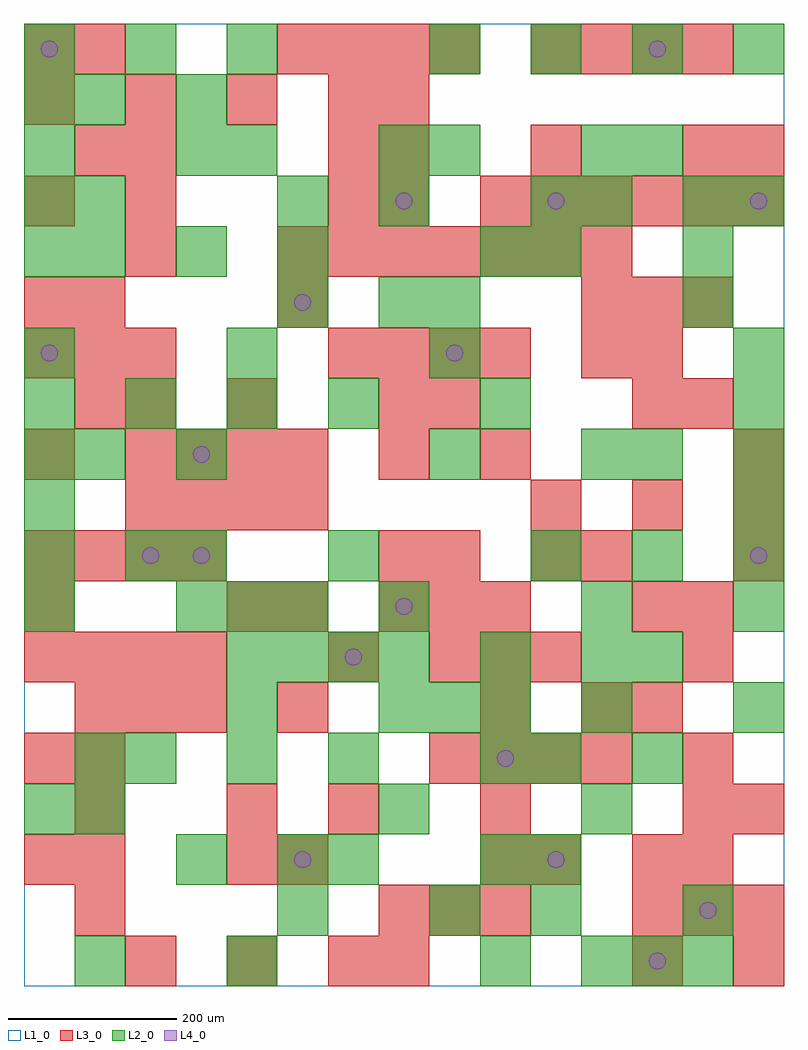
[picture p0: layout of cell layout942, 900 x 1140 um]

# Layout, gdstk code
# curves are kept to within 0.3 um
import gdstk
lib = gdstk.Library(unit=1e-6, precision=1e-09)
def R(c, l, rs):  # rectangles x0, y0, x1, y1
    for r in rs: c.add(gdstk.rectangle(r[:2], r[2:], *l))
def A(c, l, x, y, w, h, nx, ny, dx, dy):  # array of equal rectangles
    R(c, l, [(x+i*dx, y+j*dy, x+i*dx+w, y+j*dy+h) for i in range(nx) for j in range(ny)])
def P(c, l, *ps):  # polygons
    for p in ps: c.add(gdstk.Polygon(p, *l))
L1_0 = (1, 0)
L2_0 = (2, 0)
L3_0 = (3, 0)
L4_0 = (4, 0)

layout942 = lib.new_cell('layout942')
R(layout942, L1_0, [(0,0,900,1140)])
A(layout942, L2_0, 540, 0, 60, 60, 1, 4, 0, 120)
A(layout942, L2_0, 660, 0, 60, 60, 3, 1, 60, 0)
A(layout942, L2_0, 120, 240, 60, 60, 3, 1, 120, 0)
A(layout942, L2_0, 420, 300, 60, 60, 3, 1, 60, 0)
A(layout942, L2_0, 660, 300, 60, 60, 1, 3, 0, 60)
A(layout942, L2_0, 840, 300, 60, 60, 1, 3, 0, 120)
A(layout942, L2_0, 240, 360, 60, 60, 4, 1, 60, 0)
A(layout942, L2_0, 0, 420, 60, 60, 1, 4, 0, 60)
A(layout942, L2_0, 180, 420, 60, 60, 3, 1, 60, 0)
A(layout942, L2_0, 600, 480, 60, 60, 3, 1, 120, 0)
A(layout942, L2_0, 480, 600, 60, 60, 1, 3, 0, 180)
A(layout942, L2_0, 840, 600, 60, 60, 1, 3, 0, 60)
A(layout942, L2_0, 0, 660, 60, 60, 4, 1, 120, 0)
A(layout942, L2_0, 0, 720, 60, 60, 3, 1, 240, 0)
A(layout942, L2_0, 780, 780, 60, 60, 1, 3, 0, 60)
A(layout942, L2_0, 0, 840, 60, 60, 1, 4, 0, 60)
A(layout942, L2_0, 60, 840, 60, 60, 3, 1, 120, 0)
A(layout942, L2_0, 0, 1080, 60, 60, 3, 1, 120, 0)
A(layout942, L2_0, 480, 1080, 60, 60, 4, 1, 120, 0)
R(layout942, L2_0, [(60,0,120,60), (240,0,300,60), (300,60,360,120), (480,60,540,120), (600,60,660,120), (780,60,840,120), (180,120,240,180), (300,120,360,180), (360,120,420,180), (600,120,660,180), (0,180,60,240), (60,180,120,240), (420,180,480,240), (660,180,720,240), (60,240,120,300), (600,240,660,300), (720,240,780,300), (240,300,300,360), (720,360,780,420), (420,420,480,480), (120,480,180,540), (180,480,240,540), (360,480,420,540), (60,600,120,660), (180,600,240,660), (660,600,720,660), (720,600,780,660), (540,660,600,720), (300,780,360,840), (420,780,480,840), (540,840,600,900), (600,840,660,900), (60,900,120,960), (300,900,360,960), (420,900,480,960), (600,900,660,960), (660,900,720,960), (840,900,900,960), (180,960,240,1020), (240,960,300,1020), (420,960,480,1020), (660,960,720,1020), (720,960,780,1020), (60,1020,120,1080), (180,1020,240,1080)])
A(layout942, L3_0, 120, 0, 60, 60, 3, 1, 120, 0)
A(layout942, L3_0, 60, 60, 60, 60, 1, 4, 0, 60)
A(layout942, L3_0, 420, 60, 60, 60, 3, 2, 60, 360)
A(layout942, L3_0, 720, 60, 60, 60, 3, 1, 60, 0)
A(layout942, L3_0, 780, 120, 60, 60, 1, 3, 0, 60)
A(layout942, L3_0, 240, 180, 60, 60, 1, 3, 0, 240)
A(layout942, L3_0, 0, 240, 60, 60, 1, 4, 0, 180)
A(layout942, L3_0, 480, 240, 60, 60, 4, 1, 60, 0)
A(layout942, L3_0, 60, 300, 60, 60, 3, 1, 60, 0)
A(layout942, L3_0, 0, 360, 60, 60, 4, 2, 60, 120)
A(layout942, L3_0, 480, 360, 60, 60, 3, 1, 60, 0)
A(layout942, L3_0, 120, 540, 60, 60, 4, 2, 60, 60)
A(layout942, L3_0, 600, 540, 60, 60, 3, 1, 120, 0)
A(layout942, L3_0, 0, 720, 60, 60, 3, 1, 60, 0)
A(layout942, L3_0, 360, 720, 60, 60, 4, 1, 60, 0)
A(layout942, L3_0, 660, 780, 60, 60, 3, 1, 60, 0)
A(layout942, L3_0, 120, 840, 60, 60, 1, 3, 0, 60)
A(layout942, L3_0, 300, 840, 60, 60, 7, 1, 60, 0)
A(layout942, L3_0, 540, 900, 60, 60, 6, 1, 60, 0)
A(layout942, L3_0, 420, 960, 60, 60, 3, 1, 180, 0)
A(layout942, L3_0, 0, 1020, 60, 60, 4, 1, 120, 0)
A(layout942, L3_0, 300, 1080, 60, 60, 4, 1, 60, 0)
A(layout942, L3_0, 600, 1080, 60, 60, 4, 1, 60, 0)
R(layout942, L3_0, [(420,0,480,60), (720,0,780,60), (840,0,900,60), (0,120,60,180), (240,120,300,180), (300,120,360,180), (540,120,600,180), (600,120,660,180), (720,120,780,180), (360,180,420,240), (540,180,600,240), (840,180,900,240), (300,300,360,360), (540,300,600,360), (660,300,720,360), (720,300,780,360), (360,360,420,420), (780,360,840,420), (300,420,360,480), (720,420,780,480), (780,420,840,480), (420,480,480,540), (480,480,540,540), (600,480,660,540), (660,480,720,540), (840,480,900,540), (420,600,480,660), (540,600,600,660), (840,600,900,660), (60,660,120,720), (120,660,180,720), (420,660,480,720), (480,660,540,720), (720,660,780,720), (780,660,840,720), (660,720,720,780), (720,720,780,780), (60,780,120,840), (300,780,360,840), (0,900,60,960), (360,900,420,960), (420,900,480,960), (60,960,120,1020), (360,960,420,1020), (840,960,900,1020), (420,1020,480,1080), (0,1080,60,1140), (60,1080,120,1140)])
P(layout942, L4_0, [(40,750),(39.239,753.827),(37.071,757.071),(33.827,759.239),(30,760),(26.173,759.239),(22.929,757.071),(20.761,753.827),(20,750),(20.761,746.173),(22.929,742.929),(26.173,740.761),(30,740),(33.827,740.761),(37.071,742.929),(39.239,746.173)],
  [(40,1110),(39.239,1113.827),(37.071,1117.071),(33.827,1119.239),(30,1120),(26.173,1119.239),(22.929,1117.071),(20.761,1113.827),(20,1110),(20.761,1106.173),(22.929,1102.929),(26.173,1100.761),(30,1100),(33.827,1100.761),(37.071,1102.929),(39.239,1106.173)],
  [(160,510),(159.239,513.827),(157.071,517.071),(153.827,519.239),(150,520),(146.173,519.239),(142.929,517.071),(140.761,513.827),(140,510),(140.761,506.173),(142.929,502.929),(146.173,500.761),(150,500),(153.827,500.761),(157.071,502.929),(159.239,506.173)],
  [(220,510),(219.239,513.827),(217.071,517.071),(213.827,519.239),(210,520),(206.173,519.239),(202.929,517.071),(200.761,513.827),(200,510),(200.761,506.173),(202.929,502.929),(206.173,500.761),(210,500),(213.827,500.761),(217.071,502.929),(219.239,506.173)],
  [(220,630),(219.239,633.827),(217.071,637.071),(213.827,639.239),(210,640),(206.173,639.239),(202.929,637.071),(200.761,633.827),(200,630),(200.761,626.173),(202.929,622.929),(206.173,620.761),(210,620),(213.827,620.761),(217.071,622.929),(219.239,626.173)],
  [(340,150),(339.239,153.827),(337.071,157.071),(333.827,159.239),(330,160),(326.173,159.239),(322.929,157.071),(320.761,153.827),(320,150),(320.761,146.173),(322.929,142.929),(326.173,140.761),(330,140),(333.827,140.761),(337.071,142.929),(339.239,146.173)],
  [(340,810),(339.239,813.827),(337.071,817.071),(333.827,819.239),(330,820),(326.173,819.239),(322.929,817.071),(320.761,813.827),(320,810),(320.761,806.173),(322.929,802.929),(326.173,800.761),(330,800),(333.827,800.761),(337.071,802.929),(339.239,806.173)],
  [(400,390),(399.239,393.827),(397.071,397.071),(393.827,399.239),(390,400),(386.173,399.239),(382.929,397.071),(380.761,393.827),(380,390),(380.761,386.173),(382.929,382.929),(386.173,380.761),(390,380),(393.827,380.761),(397.071,382.929),(399.239,386.173)],
  [(460,450),(459.239,453.827),(457.071,457.071),(453.827,459.239),(450,460),(446.173,459.239),(442.929,457.071),(440.761,453.827),(440,450),(440.761,446.173),(442.929,442.929),(446.173,440.761),(450,440),(453.827,440.761),(457.071,442.929),(459.239,446.173)],
  [(460,930),(459.239,933.827),(457.071,937.071),(453.827,939.239),(450,940),(446.173,939.239),(442.929,937.071),(440.761,933.827),(440,930),(440.761,926.173),(442.929,922.929),(446.173,920.761),(450,920),(453.827,920.761),(457.071,922.929),(459.239,926.173)],
  [(520,750),(519.239,753.827),(517.071,757.071),(513.827,759.239),(510,760),(506.173,759.239),(502.929,757.071),(500.761,753.827),(500,750),(500.761,746.173),(502.929,742.929),(506.173,740.761),(510,740),(513.827,740.761),(517.071,742.929),(519.239,746.173)],
  [(580,270),(579.239,273.827),(577.071,277.071),(573.827,279.239),(570,280),(566.173,279.239),(562.929,277.071),(560.761,273.827),(560,270),(560.761,266.173),(562.929,262.929),(566.173,260.761),(570,260),(573.827,260.761),(577.071,262.929),(579.239,266.173)],
  [(640,150),(639.239,153.827),(637.071,157.071),(633.827,159.239),(630,160),(626.173,159.239),(622.929,157.071),(620.761,153.827),(620,150),(620.761,146.173),(622.929,142.929),(626.173,140.761),(630,140),(633.827,140.761),(637.071,142.929),(639.239,146.173)],
  [(640,930),(639.239,933.827),(637.071,937.071),(633.827,939.239),(630,940),(626.173,939.239),(622.929,937.071),(620.761,933.827),(620,930),(620.761,926.173),(622.929,922.929),(626.173,920.761),(630,920),(633.827,920.761),(637.071,922.929),(639.239,926.173)],
  [(760,30),(759.239,33.827),(757.071,37.071),(753.827,39.239),(750,40),(746.173,39.239),(742.929,37.071),(740.761,33.827),(740,30),(740.761,26.173),(742.929,22.929),(746.173,20.761),(750,20),(753.827,20.761),(757.071,22.929),(759.239,26.173)],
  [(760,1110),(759.239,1113.827),(757.071,1117.071),(753.827,1119.239),(750,1120),(746.173,1119.239),(742.929,1117.071),(740.761,1113.827),(740,1110),(740.761,1106.173),(742.929,1102.929),(746.173,1100.761),(750,1100),(753.827,1100.761),(757.071,1102.929),(759.239,1106.173)],
  [(820,90),(819.239,93.827),(817.071,97.071),(813.827,99.239),(810,100),(806.173,99.239),(802.929,97.071),(800.761,93.827),(800,90),(800.761,86.173),(802.929,82.929),(806.173,80.761),(810,80),(813.827,80.761),(817.071,82.929),(819.239,86.173)],
  [(880,510),(879.239,513.827),(877.071,517.071),(873.827,519.239),(870,520),(866.173,519.239),(862.929,517.071),(860.761,513.827),(860,510),(860.761,506.173),(862.929,502.929),(866.173,500.761),(870,500),(873.827,500.761),(877.071,502.929),(879.239,506.173)],
  [(880,930),(879.239,933.827),(877.071,937.071),(873.827,939.239),(870,940),(866.173,939.239),(862.929,937.071),(860.761,933.827),(860,930),(860.761,926.173),(862.929,922.929),(866.173,920.761),(870,920),(873.827,920.761),(877.071,922.929),(879.239,926.173)])

lib.write_gds('layout942.gds')
